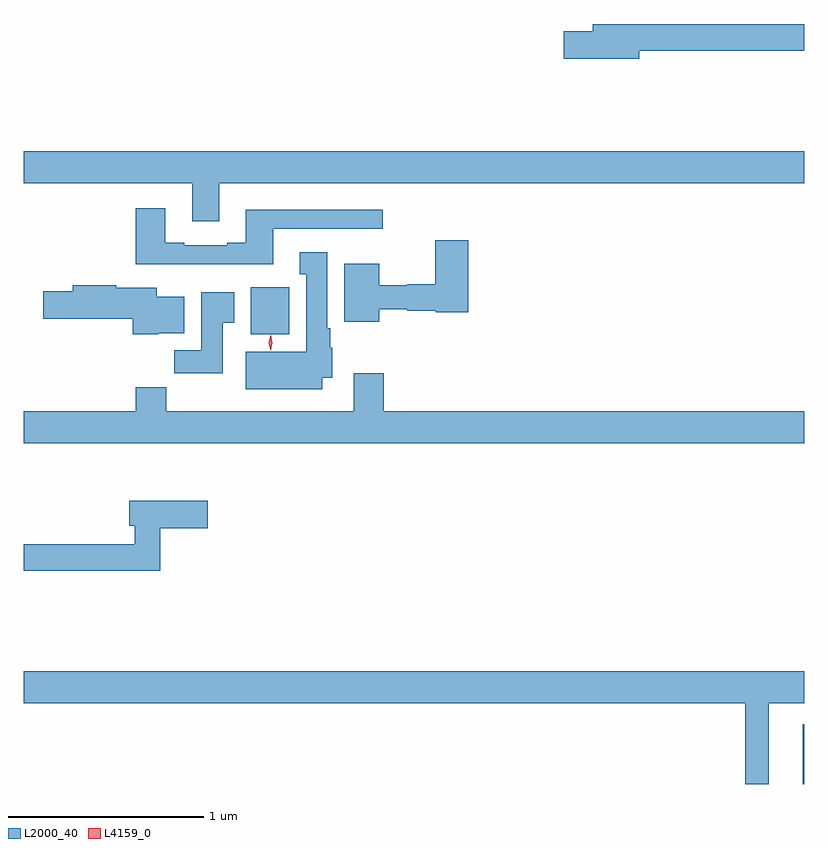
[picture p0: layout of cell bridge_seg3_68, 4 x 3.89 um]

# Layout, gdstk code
import gdstk
lib = gdstk.Library(unit=1e-6, precision=1e-09)
def R(c, l, rs):  # rectangles x0, y0, x1, y1
    for r in rs: c.add(gdstk.rectangle(r[:2], r[2:], *l))
def P(c, l, *ps):  # polygons
    for p in ps: c.add(gdstk.Polygon(p, *l))
L2000_40 = (2000, 40)
L4159_0 = (4159, 0)

bridge_seg3_68 = lib.new_cell('bridge_seg3_68')
R(bridge_seg3_68, L2000_40, [(547.736,700.503,547.744,700.81), (544.907,702.806,545.104,703.048)])
P(bridge_seg3_68, L2000_40, [(546.898,704.26),(547.744,704.26),(547.744,704.396),(546.659,704.396),(546.659,704.36),(546.51,704.36),(546.51,704.218),(546.898,704.218)],
  [(544.747,703.58),(547.744,703.58),(547.744,703.744),(543.744,703.744),(543.744,703.58),(544.607,703.58),(544.607,703.386),(544.747,703.386)],
  [(545.023,703.347),(545.584,703.347),(545.584,703.444),(544.883,703.444),(544.883,703.276),(544.787,703.276),(544.787,703.263),(544.567,703.263),(544.567,703.276),(544.471,703.276),(544.471,703.453),(544.319,703.453),(544.319,703.166),(545.023,703.166)],
  [(545.566,702.936),(545.709,702.936),(545.709,702.928),(545.856,702.928),(545.856,702.92),(546.023,702.92),(546.023,703.288),(545.852,703.288),(545.852,703.064),(545.709,703.064),(545.709,703.057),(545.566,703.057),(545.566,703.168),(545.387,703.168),(545.387,702.872),(545.566,702.872)],
  [(545.275,702.584),(545.326,702.584),(545.326,702.738),(545.314,702.738),(545.314,702.838),(545.299,702.838),(545.299,703.228),(545.159,703.228),(545.159,703.115),(545.192,703.115),(545.192,702.718),(544.883,702.718),(544.883,702.524),(545.275,702.524)],
  [(544.434,702.812),(544.567,702.812),(544.567,703),(544.426,703),(544.426,703.045),(544.22,703.045),(544.22,703.058),(543.995,703.058),(543.995,703.028),(543.846,703.028),(543.846,702.886),(544.304,702.886),(544.304,702.806),(544.434,702.806)],
  [(544.765,702.865),(544.822,702.865),(544.822,703.021),(544.655,703.021),(544.655,702.724),(544.516,702.724),(544.516,702.606),(544.765,702.606)],
  [(547.744,702.412),(545.588,702.412),(545.588,702.607),(545.435,702.607),(545.435,702.412),(544.475,702.412),(544.475,702.536),(544.319,702.536),(544.319,702.412),(543.744,702.412),(543.744,702.248),(547.744,702.248)],
  [(544.445,701.813),(544.687,701.813),(544.687,701.955),(544.286,701.955),(544.286,701.825),(544.313,701.825),(544.313,701.732),(543.744,701.732),(543.744,701.596),(544.445,701.596)],
  [(547.561,700.916),(547.744,700.916),(547.744,701.08),(543.744,701.08),(543.744,700.916),(547.44,700.916),(547.44,700.503),(547.561,700.503)])
P(bridge_seg3_68, L4159_0, [(545.01,702.721),(545.01,702.721),(545,702.762),(545.009,702.803),(545.009,702.804),(545.009,702.803),(545.019,702.762),(545.01,702.721)])

lib.write_gds('bridge_seg3_68.gds')
